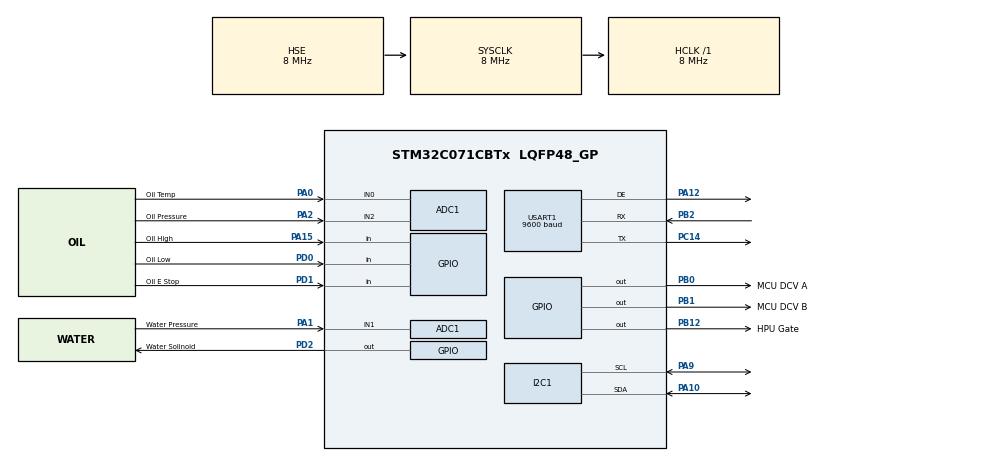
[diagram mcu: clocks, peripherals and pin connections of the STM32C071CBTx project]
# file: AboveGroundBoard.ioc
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ADC1.Channel-0\#ChannelRegularConversion=ADC_CHANNEL_0
ADC1.Channel-1\#ChannelRegularConversion=ADC_CHANNEL_1
ADC1.Channel-2\#ChannelRegularConversion=ADC_CHANNEL_2
ADC1.ContinuousConvMode=ENABLE
ADC1.NbrOfConversion=3
ADC1.NbrOfConversionFlag=1
ADC1.Rank-0\#ChannelRegularConversion=1
ADC1.Rank-1\#ChannelRegularConversion=2
ADC1.Rank-2\#ChannelRegularConversion=3
ADC1.SamplingTime-0\#ChannelRegularConversion=ADC_SAMPLINGTIME_COMMON_1
ADC1.SamplingTime-1\#ChannelRegularConversion=ADC_SAMPLINGTIME_COMMON_1
ADC1.SamplingTime-2\#ChannelRegularConversion=ADC_SAMPLINGTIME_COMMON_1
ADC1.SamplingTimeCommon1=ADC_SAMPLETIME_160CYCLES_5
ADC1.SelectedChannel=ADC_CHANNEL_0|ADC_CHANNEL_1|ADC_CHANNEL_2
ADC1.Sequencer=FULLY_CONFIGURABLE
ADC1.TriggerFrequencyMode=ADC_TRIGGER_FREQ_LOW
ADC1.master=1
Dma.ADC1.0.Direction=DMA_PERIPH_TO_MEMORY
Dma.ADC1.0.EventEnable=DISABLE
Dma.ADC1.0.Instance=DMA1_Channel1
Dma.ADC1.0.MemDataAlignment=DMA_MDATAALIGN_HALFWORD
Dma.ADC1.0.MemInc=DMA_MINC_ENABLE
Dma.ADC1.0.Mode=DMA_CIRCULAR
Dma.ADC1.0.PeriphDataAlignment=DMA_PDATAALIGN_HALFWORD
Dma.ADC1.0.PeriphInc=DMA_PINC_DISABLE
Dma.ADC1.0.Polarity=HAL_DMAMUX_REQ_GEN_RISING
Dma.ADC1.0.Priority=DMA_PRIORITY_LOW
Dma.ADC1.0.RequestNumber=1
Dma.ADC1.0.SignalID=NONE
Dma.ADC1.0.SyncEnable=DISABLE
Dma.ADC1.0.SyncPolarity=HAL_DMAMUX_SYNC_NO_EVENT
Dma.ADC1.0.SyncRequestNumber=1
Dma.ADC1.0.SyncSignalID=NONE
Dma.I2C1_RX.3.Direction=DMA_PERIPH_TO_MEMORY
Dma.I2C1_RX.3.EventEnable=DISABLE
Dma.I2C1_RX.3.Instance=DMA1_Channel4
Dma.I2C1_RX.3.MemDataAlignment=DMA_MDATAALIGN_BYTE
Dma.I2C1_RX.3.MemInc=DMA_MINC_ENABLE
Dma.I2C1_RX.3.Mode=DMA_NORMAL
Dma.I2C1_RX.3.PeriphDataAlignment=DMA_PDATAALIGN_BYTE
Dma.I2C1_RX.3.PeriphInc=DMA_PINC_DISABLE
Dma.I2C1_RX.3.Polarity=HAL_DMAMUX_REQ_GEN_RISING
Dma.I2C1_RX.3.Priority=DMA_PRIORITY_MEDIUM
Dma.I2C1_RX.3.RequestNumber=1
Dma.I2C1_RX.3.SignalID=NONE
Dma.I2C1_RX.3.SyncEnable=DISABLE
Dma.I2C1_RX.3.SyncPolarity=HAL_DMAMUX_SYNC_NO_EVENT
Dma.I2C1_RX.3.SyncRequestNumber=1
Dma.I2C1_RX.3.SyncSignalID=NONE
Dma.I2C1_TX.4.Direction=DMA_MEMORY_TO_PERIPH
Dma.I2C1_TX.4.EventEnable=DISABLE
Dma.I2C1_TX.4.Instance=DMA1_Channel5
Dma.I2C1_TX.4.MemDataAlignment=DMA_MDATAALIGN_BYTE
Dma.I2C1_TX.4.MemInc=DMA_MINC_ENABLE
Dma.I2C1_TX.4.Mode=DMA_NORMAL
Dma.I2C1_TX.4.PeriphDataAlignment=DMA_PDATAALIGN_BYTE
Dma.I2C1_TX.4.PeriphInc=DMA_PINC_DISABLE
Dma.I2C1_TX.4.Polarity=HAL_DMAMUX_REQ_GEN_RISING
Dma.I2C1_TX.4.Priority=DMA_PRIORITY_MEDIUM
Dma.I2C1_TX.4.RequestNumber=1
Dma.I2C1_TX.4.SignalID=NONE
Dma.I2C1_TX.4.SyncEnable=DISABLE
Dma.I2C1_TX.4.SyncPolarity=HAL_DMAMUX_SYNC_NO_EVENT
Dma.I2C1_TX.4.SyncRequestNumber=1
Dma.I2C1_TX.4.SyncSignalID=NONE
Dma.Request0=ADC1
Dma.Request1=USART1_RX
Dma.Request2=USART1_TX
Dma.Request3=I2C1_RX
Dma.Request4=I2C1_TX
Dma.USART1_RX.1.Direction=DMA_PERIPH_TO_MEMORY
Dma.USART1_RX.1.EventEnable=DISABLE
Dma.USART1_RX.1.Instance=DMA1_Channel2
Dma.USART1_RX.1.MemDataAlignment=DMA_MDATAALIGN_BYTE
Dma.USART1_RX.1.MemInc=DMA_MINC_ENABLE
Dma.USART1_RX.1.Mode=DMA_NORMAL
Dma.USART1_RX.1.PeriphDataAlignment=DMA_PDATAALIGN_BYTE
Dma.USART1_RX.1.PeriphInc=DMA_PINC_DISABLE
Dma.USART1_RX.1.Polarity=HAL_DMAMUX_REQ_GEN_RISING
Dma.USART1_RX.1.Priority=DMA_PRIORITY_VERY_HIGH
Dma.USART1_RX.1.RequestNumber=1
Dma.USART1_RX.1.SignalID=NONE
Dma.USART1_RX.1.SyncEnable=DISABLE
Dma.USART1_RX.1.SyncPolarity=HAL_DMAMUX_SYNC_NO_EVENT
Dma.USART1_RX.1.SyncRequestNumber=1
Dma.USART1_RX.1.SyncSignalID=NONE
Dma.USART1_TX.2.Direction=DMA_MEMORY_TO_PERIPH
Dma.USART1_TX.2.EventEnable=DISABLE
Dma.USART1_TX.2.Instance=DMA1_Channel3
Dma.USART1_TX.2.MemDataAlignment=DMA_MDATAALIGN_BYTE
Dma.USART1_TX.2.MemInc=DMA_MINC_ENABLE
Dma.USART1_TX.2.Mode=DMA_NORMAL
Dma.USART1_TX.2.PeriphDataAlignment=DMA_PDATAALIGN_BYTE
Dma.USART1_TX.2.PeriphInc=DMA_PINC_DISABLE
Dma.USART1_TX.2.Polarity=HAL_DMAMUX_REQ_GEN_RISING
Dma.USART1_TX.2.Priority=DMA_PRIORITY_HIGH
Dma.USART1_TX.2.RequestNumber=1
Dma.USART1_TX.2.SignalID=NONE
Dma.USART1_TX.2.SyncEnable=DISABLE
Dma.USART1_TX.2.SyncPolarity=HAL_DMAMUX_SYNC_NO_EVENT
Dma.USART1_TX.2.SyncRequestNumber=1
Dma.USART1_TX.2.SyncSignalID=NONE
I2C1.Timing=0x00201D2B
Mcu.Family=STM32C0
Mcu.Name=STM32C071CBTx
Mcu.Package=LQFP48_GP
NVIC.DMA1_Channel1_IRQn=true\:0\:0\:false\:false\:true\:false\:true\:true
NVIC.DMA1_Channel2_3_IRQn=true\:0\:0\:false\:false\:true\:false\:true\:true
NVIC.DMAMUX1_DMA1_CH4_5_IRQn=true\:0\:0\:false\:false\:true\:false\:true\:true
NVIC.USART1_IRQn=true\:0\:0\:false\:false\:true\:true\:true\:true
PA0.GPIO_Label=Oil Temp
PA0.Mode=IN0
PA0.Signal=ADC1_IN0
PA1.GPIO_Label=Water Pressure
PA1.Mode=IN1
PA1.Signal=ADC1_IN1
PA10\ [PA12].Mode=I2C
PA10\ [PA12].Signal=I2C1_SDA
PA12\ [PA10].Mode=Hardware Flow Control (RS485)
PA12\ [PA10].Signal=USART1_DE
PA13.Mode=Serial_Wire
PA13.Signal=DEBUG_SWDIO
PA14-BOOT0.Mode=Serial_Wire
PA14-BOOT0.Signal=DEBUG_SWCLK
PA15.GPIO_Label=Oil High
PA15.GPIO_PuPd=GPIO_PULLUP
PA15.Signal=GPIO_Input
PA2.GPIO_Label=Oil Pressure
PA2.Mode=IN2
PA2.Signal=ADC1_IN2
PA9\ [PA11].Mode=I2C
PA9\ [PA11].Signal=I2C1_SCL
PB0.GPIO_Label=MCU DCV A
PB0.Signal=GPIO_Output
PB1.GPIO_Label=MCU DCV B
PB1.Signal=GPIO_Output
PB12.GPIO_Label=HPU Gate
PB12.Signal=GPIO_Output
PB2.Mode=Asynchronous
PB2.Signal=USART1_RX
PC14-OSCX_IN(PC14).Mode=Asynchronous
PC14-OSCX_IN(PC14).Signal=USART1_TX
PD0.GPIO_Label=Oil Low
PD0.GPIO_PuPd=GPIO_PULLUP
PD0.Signal=GPIO_Input
PD1.GPIO_Label=Oil E Stop
PD1.GPIO_PuPd=GPIO_PULLUP
PD1.Signal=GPIO_Input
PD2.GPIO_Label=Water Solinoid
PD2.Signal=GPIO_Output
PF0-OSC_IN(PF0).Mode=HSE-External-Oscillator
PF0-OSC_IN(PF0).Signal=RCC_OSC_IN
PF1-OSC_OUT(PF1).Mode=HSE-External-Oscillator
PF1-OSC_OUT(PF1).Signal=RCC_OSC_OUT
ProjectManager.HeapSize=0x200
ProjectManager.StackSize=0x400
ProjectManager.TargetToolchain=STM32CubeIDE
RCC.ADCFreq_Value=8000000
RCC.AHBFreq_Value=8000000
RCC.CortexFreq_Value=8000000
RCC.EXTERNAL_CLOCK_VALUE=12288000
RCC.HCLKFreq_Value=8000000
RCC.HSE_VALUE=8000000
RCC.HSI48_VALUE=48000000
RCC.HSI_VALUE=48000000
RCC.LSE_VALUE=32768
RCC.SYSCLKFreq_VALUE=8000000
RCC.SYSCLKSource=RCC_SYSCLKSOURCE_HSE
USART1.BaudRate=9600
USART1.VirtualMode-Asynchronous=VM_ASYNC
USART1.VirtualMode-Hardware\ Flow\ Control\ (RS485)=VM_ASYNC
board=custom

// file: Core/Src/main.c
/* USER CODE BEGIN Header */
/**
  ******************************************************************************
  * @file           : main.c
  * @brief          : Main program body
  ******************************************************************************
  * @attention
  *
  * Copyright (c) 2024 STMicroelectronics.
  * All rights reserved.
  *
  * This software is licensed under terms that can be found in the LICENSE file
  * in the root directory of this software component.
  * If no LICENSE file comes with this software, it is provided AS-IS.
  *
  ******************************************************************************
  */
/* USER CODE END Header */
#include "main.h"

/* USER CODE BEGIN Includes */
#include "modbus.h"
#include "vl53l0x.h"
#include "error_codes.h"
/* USER CODE END Includes */

ADC_HandleTypeDef hadc1;
DMA_HandleTypeDef hdma_adc1;

I2C_HandleTypeDef hi2c1;
DMA_HandleTypeDef hdma_i2c1_rx;
DMA_HandleTypeDef hdma_i2c1_tx;

UART_HandleTypeDef huart1;
DMA_HandleTypeDef hdma_usart1_rx;
DMA_HandleTypeDef hdma_usart1_tx;

/* USER CODE BEGIN PV */
uint16_t holding_register_database[NUM_HOLDING_REGISTERS] = {
		0x0006,	// MODBUS_ID
		0x0003, // BAUD_RATE
		  1000, // MB_TRANSMIT_TIMEOUT
		     2, // MB_TRANSMIT_RETRIES
		0x0000, // MB_ERRORS
		0x0000,	// VL53L0X_ERRORS
		0x0000, // I2C_ERRORS
		0x0000, // I2C_SHUTDOWN
		0x0000, // ADC_ERRORS
		0x0000, // ADC_SHUTDOWN

		0xFFFF, // ADC_0
		0xFFFF, // ADC_1
		0xFFFF, // ADC_2

		0xFFFF, // LASER_DISTANCE
		0x0000, // GPIO_READ
		0x0000, // GPIO_WRITE
};

uint16_t prev_gpio_write_register;
volatile uint8_t adc_err_int;
/* USER CODE END PV */

void SystemClock_Config(void);
static void MX_GPIO_Init(void);
static void MX_DMA_Init(void);
static void MX_USART1_UART_Init(void);
static void MX_ADC1_Init(void);
static void MX_I2C1_Init(void);
/* USER CODE BEGIN PFP */
int8_t adc_reset();
/* USER CODE END PFP */

/* USER CODE BEGIN 0 */

int8_t adc_reset()
{
	int8_t status = HAL_OK;
	status = HAL_ADC_Stop_DMA(&hadc1);
	status |= HAL_ADC_DeInit(&hadc1);
	__HAL_RCC_ADC_FORCE_RESET();
	HAL_Delay(10);
	__HAL_RCC_ADC_RELEASE_RESET();
	HAL_Delay(10);
	status |= HAL_ADC_Init(&hadc1);

	ADC_ChannelConfTypeDef sConfig = {0};

	sConfig.Channel = ADC_CHANNEL_0;
	sConfig.Rank = ADC_REGULAR_RANK_1;
	sConfig.SamplingTime = ADC_SAMPLINGTIME_COMMON_1;
	status |= HAL_ADC_ConfigChannel(&hadc1, &sConfig);

	sConfig.Channel = ADC_CHANNEL_1;
	sConfig.Rank = ADC_REGULAR_RANK_2;
	status |= HAL_ADC_ConfigChannel(&hadc1, &sConfig);

	sConfig.Channel = ADC_CHANNEL_2;
	sConfig.Rank = ADC_REGULAR_RANK_3;
	status |= HAL_ADC_ConfigChannel(&hadc1, &sConfig);
	return status;
}

void HAL_ADC_ErrorCallback(ADC_HandleTypeDef *hadc)
{
	adc_err_int = 1U;
}

/* USER CODE END 0 */

int main(void)
{

  /* USER CODE BEGIN 1 */
	int8_t modbus_status = HAL_OK;
	int8_t i2c_status = HAL_OK;
	int8_t adc_status = HAL_OK;
	uint8_t modbus_tx_len = 0;
	uint8_t prev_adc_shutdown = 0;
  /* USER CODE END 1 */

  /* MCU Configuration--------------------------------------------------------*/

  /* Reset of all peripherals, Initializes the Flash interface and the Systick. */
  HAL_Init();

  /* Configure the system clock */
  SystemClock_Config();

  /* Initialize all configured peripherals */
  MX_GPIO_Init();
  MX_DMA_Init();
  MX_USART1_UART_Init();
  MX_ADC1_Init();
  MX_I2C1_Init();
  /* USER CODE BEGIN 2 */

    if(modbus_set_rx() != HAL_OK)
    {
    	Error_Handler();
    }

	if(HAL_ADC_Start_DMA(&hadc1, (uint32_t*)(&holding_register_database[ADC_0]), 3) != HAL_OK)
	{
		Error_Handler();
	}

	adc_err_int = 0U;

	// Initialise the VL53L0X
	statInfo_t_VL53L0X* distanceStr = 0;
	i2c_status = vl53l0x_init(1);
	if(i2c_status != HAL_OK)
	{
		holding_register_database[VL53L0X_ERRORS] |= (1U << VL53L0X_INIT_ERROR);
	}

	// Configure the sensor for high accuracy and speed in 20 cm.
	i2c_status = vl53l0x_set_signal_rate_limit(200);
	if(i2c_status != HAL_OK)
	{
		holding_register_database[VL53L0X_ERRORS] |= (1U << VL53L0X_SIGNAL_RATE_LIMIT_ERROR);
	}
	i2c_status |= vl53l0x_set_measurement_timing_budget(300 * 1000UL);
	if(i2c_status != HAL_OK)
	{
		holding_register_database[VL53L0X_ERRORS] |= (1U << VL53L0X_TIMING_BUDGET_ERROR);
	}
	i2c_status |= vl53l0x_set_vcsel_pulse_period(VcselPeriodPreRange, 18);
	if(i2c_status != HAL_OK)
	{
		holding_register_database[VL53L0X_ERRORS] |= (1U << VL53L0X_VCSEL_PULSE_ERROR);
	}
	i2c_status |= vl53l0x_set_vcsel_pulse_period(VcselPeriodFinalRange, 14);
	if(i2c_status != HAL_OK)
	{
		holding_register_database[VL53L0X_ERRORS] |= (1U << VL53L0X_VCSEL_PULSE_ERROR);
	}

  /* USER CODE END 2 */

  /* Infinite loop */
  /* USER CODE BEGIN WHILE */
  while (1)
  {
	    // Update the GPIO_READ register
		GPIO_PinState oil_high = HAL_GPIO_ReadPin(Oil_High_GPIO_Port, Oil_High_Pin);
		GPIO_PinState oil_low = HAL_GPIO_ReadPin(Oil_Low_GPIO_Port, Oil_Low_Pin);
		GPIO_PinState oil_estop = HAL_GPIO_ReadPin(Oil_E_Stop_GPIO_Port, Oil_E_Stop_Pin);

		holding_register_database[GPIO_READ] = ((oil_high << OIL_HIGH) | (oil_low << OIL_LOW) | (oil_estop << OIL_ESTOP));

		if(prev_gpio_write_register != holding_register_database[GPIO_WRITE])
		{
			if((prev_gpio_write_register & MCU_DCV_A_MASK) != (holding_register_database[GPIO_WRITE] & MCU_DCV_A_MASK))
			{
				// If A wants to be high
				if((holding_register_database[GPIO_WRITE] & MCU_DCV_A_MASK) != 0)
				{
					// If B wants to be low
					if((holding_register_database[GPIO_WRITE] & MCU_DCV_B_MASK) == 0)
					{
						// If B is high but B wants to be low
						if((prev_gpio_write_register & MCU_DCV_B_MASK) != 0)
						{
							// Write B low first
							HAL_GPIO_WritePin(MCU_DCV_B_GPIO_Port, MCU_DCV_B_Pin,(holding_register_database[GPIO_WRITE] & MCU_DCV_B_MASK));
							HAL_Delay(100); // Wait a few seconds for safety
							HAL_GPIO_WritePin(MCU_DCV_A_GPIO_Port, MCU_DCV_A_Pin,(holding_register_database[GPIO_WRITE] & MCU_DCV_A_MASK));
							// Clear B for the prev_gpio_write_register
							prev_gpio_write_register &= ~ MCU_DCV_B_MASK;
						}
					}
					// If B wants to be high -> FORBIDDEN
					else
					{
						// If B is high
						if((prev_gpio_write_register & MCU_DCV_B_MASK) != 0)
						{
							// Cancel the user request, clear the A bit
							holding_register_database[GPIO_WRITE] &= ~ MCU_DCV_A_MASK;
						}
						// If A and B both want to be set high from a low state
						else
						{
							// Cancel the user request, clear the A and B bit
							holding_register_database[GPIO_WRITE] &= ~ (MCU_DCV_A_MASK | MCU_DCV_B_MASK);
						}
					}
				}
				// If A wants to be low
				else
				{
					HAL_GPIO_WritePin(MCU_DCV_A_GPIO_Port, MCU_DCV_A_Pin, (holding_register_database[GPIO_WRITE] & MCU_DCV_A_MASK));
				}
			}
			if((prev_gpio_write_register & MCU_DCV_B_MASK) != (holding_register_database[GPIO_WRITE] & MCU_DCV_B_MASK))
			{
				// If B wants to be high
				if((holding_register_database[GPIO_WRITE] & MCU_DCV_B_MASK) != 0)
				{
					// If A wants to be low
					if((holding_register_database[GPIO_WRITE] & MCU_DCV_A_MASK) == 0)
					{
						// If A is high but A wants to be low
						if((prev_gpio_write_register & MCU_DCV_A_MASK) != 0)
						{
							// Write A low first
							HAL_GPIO_WritePin(MCU_DCV_A_GPIO_Port, MCU_DCV_A_Pin,(holding_register_database[GPIO_WRITE] & MCU_DCV_A_MASK));
							HAL_Delay(100); // Wait a few seconds for safety
							HAL_GPIO_WritePin(MCU_DCV_B_GPIO_Port, MCU_DCV_B_Pin,(holding_register_database[GPIO_WRITE] & MCU_DCV_B_MASK));
							// Clear A for the prev_gpio_write_register
							prev_gpio_write_register &= ~ MCU_DCV_A_MASK;
						}
					}
					// If A wants to be high -> FORBIDDEN
					else
					{
						// If A is high
						if((prev_gpio_write_register & MCU_DCV_A_MASK) != 0)
						{
							// Cancel the user request, clear the B bit
							holding_register_database[GPIO_WRITE] &= ~ MCU_DCV_B_MASK;
						}
						// If A and B both want to be set high from a low state
						else
						{
							// Cancel the user request, clear the A and B bit
							holding_register_database[GPIO_WRITE] &= ~ (MCU_DCV_A_MASK | MCU_DCV_B_MASK);
						}
					}
				}
				// If B wants to be low
				else
				{
					HAL_GPIO_WritePin(MCU_DCV_B_GPIO_Port, MCU_DCV_B_Pin, (holding_register_database[GPIO_WRITE] & MCU_DCV_B_MASK));
				}
			}
			if((prev_gpio_write_register & HPU_GATE_MASK) != (holding_register_database[GPIO_WRITE] & HPU_GATE_MASK))
			{
				HAL_GPIO_WritePin(HPU_Gate_GPIO_Port, HPU_Gate_Pin, (holding_register_database[GPIO_WRITE] & HPU_GATE_MASK));
			}
			if((prev_gpio_write_register & WATER_SOLINOID_MASK) != (holding_register_database[GPIO_WRITE] & WATER_SOLINOID_MASK))
			{
				HAL_GPIO_WritePin(Water_Solinoid_GPIO_Port, Water_Solinoid_Pin, (holding_register_database[GPIO_WRITE] & WATER_SOLINOID_MASK));
			}
			prev_gpio_write_register = holding_register_database[GPIO_WRITE];
		}

		// Handle Modbus Communication
		if(modbus_rx())
		{
			if(get_rx_buffer(0) == holding_register_database[MODBUS_ID]) // Check Slave ID
			{
				switch(get_rx_buffer(1))
				{
					case 0x03:
					{
						// Return holding registers
						modbus_status = return_holding_registers(&modbus_tx_len);
						break;
					}
					case 0x10:
					{
						// Write holding registers
						modbus_status = edit_multiple_registers(&modbus_tx_len);
						break;
					}
					default:
					{
						modbus_status = modbus_exception(MB_ILLEGAL_FUNCTION);
						break;
					}
				}
				if(modbus_status != 0)
				{
					holding_register_database[MB_ERRORS] |= 1U << ((modbus_status) + (MB_FATAL_ERROR - RANGE_ERROR));
				}
			}
			// Special case where you retrieve the modbus ID
			else if((get_rx_buffer(0) == 0xFF) && // modbus_id = 0xFF = 255
			(get_rx_buffer(1) == 0x03) && // Function code = read_holding_registers
			(((get_rx_buffer(2) << 8) | get_rx_buffer(3)) == 0x00) && // Address to read = 0
			(((get_rx_buffer(4) << 8) | get_rx_buffer(5)) == 1)) // # of registers to read = 1
			{
				modbus_status = return_holding_registers(&modbus_tx_len);
				if(modbus_status != 0)
				{
					holding_register_database[MB_ERRORS] |= 1U << ((modbus_status) + (MB_FATAL_ERROR - RANGE_ERROR));
				}
			}
		}
		modbus_status = monitor_modbus();
		if(modbus_status != HAL_OK && modbus_status != HAL_BUSY)
		{
			switch(modbus_status)
			{
				case MB_TX_TIMEOUT:
				{
					for(uint8_t i = 0; i < holding_register_database[MB_TRANSMIT_RETRIES]; i++)
					{
						modbus_status = modbus_send(modbus_tx_len);
						while(monitor_modbus() == HAL_BUSY);
						if(modbus_status != HAL_OK)
						{
							holding_register_database[MB_ERRORS] |= 1U << ((modbus_status) + (MB_FATAL_ERROR - RANGE_ERROR));
						}
					}
				  break;
				}
				case MB_RX_TIMEOUT:
				{
					// Error only relates to Modbus Master Nodes
					break;
				}
				case MB_UART_ERROR:
				{
					if(modbus_status != 0)
					{
						holding_register_database[MB_ERRORS] |= 1U << ((modbus_status) + (MB_FATAL_ERROR - RANGE_ERROR));
					}
					break;
				}
				case MB_FATAL_ERROR:
				{
					while(modbus_status != HAL_OK)
					{
						modbus_status = modbus_reset();
					}
					if(modbus_status != 0)
					{
						holding_register_database[MB_ERRORS] |= 1U << ((modbus_status) + (MB_FATAL_ERROR - RANGE_ERROR));
					}
					break;
				}
				default:
				{
					// Unknown error
				}
			}
		}

		// Handle I2C Communication
		if(!holding_register_database[I2C_SHUTDOWN])
		{
			// statInfo_t_VL53L0X distanceStr is the statistics read from the sensor.
			i2c_status = vl53l0x_read_range_single(distanceStr, &holding_register_database[LASER_DISTANCE]);
			if(i2c_status != HAL_OK)
			{
				holding_register_database[VL53L0X_ERRORS] |= (1U << VL53L0X_AQUISITION_ERROR);
			}
		}

		// Handle ADC Errors
		if(adc_err_int != 0U)
		{
			adc_err_int = 0U;
			holding_register_database[ADC_ERRORS] |= hadc1.ErrorCode;
			adc_status = adc_reset();
			if(adc_status != HAL_OK)
			{
				// Fatal Error
				holding_register_database[ADC_ERRORS] |= (1U << 5U);
				holding_register_database[ADC_SHUTDOWN] = 1;
				prev_adc_shutdown = 1;
			}
			else
			{
				HAL_ADC_Start_DMA(&hadc1, (uint32_t*)(&holding_register_database[ADC_0]), 3);
			}
		}
		if(prev_adc_shutdown != holding_register_database[ADC_SHUTDOWN])
		{
			if(prev_adc_shutdown == 1)
			{
				adc_status = adc_reset();
				if(adc_status != HAL_OK)
				{
					// Fatal Error
					holding_register_database[ADC_ERRORS] |= (1U << 5U);
					holding_register_database[ADC_SHUTDOWN] = 1;
				}
				else
				{
					HAL_ADC_Start_DMA(&hadc1, (uint32_t*)(&holding_register_database[ADC_0]), 3);
				}
			}
			else
			{
				adc_status = adc_reset();
				if(adc_status != HAL_OK)
				{
					// Fatal Error
					holding_register_database[ADC_ERRORS] |= (1U << 5U);
				}
			}
			prev_adc_shutdown = holding_register_database[ADC_SHUTDOWN];
		}

    /* USER CODE END WHILE */

  }
}

void SystemClock_Config(void)
{
  RCC_OscInitTypeDef RCC_OscInitStruct = {0};
  RCC_ClkInitTypeDef RCC_ClkInitStruct = {0};

  /** Initializes the RCC Oscillators according to the specified parameters
  * in the RCC_OscInitTypeDef structure.
  */
  RCC_OscInitStruct.OscillatorType = RCC_OSCILLATORTYPE_HSE;
  RCC_OscInitStruct.HSEState = RCC_HSE_ON;
  if (HAL_RCC_OscConfig(&RCC_OscInitStruct) != HAL_OK)
  {
    Error_Handler();
  }

  /** Initializes the CPU, AHB and APB buses clocks
  */
  RCC_ClkInitStruct.ClockType = RCC_CLOCKTYPE_HCLK|RCC_CLOCKTYPE_SYSCLK
                              |RCC_CLOCKTYPE_PCLK1;
  RCC_ClkInitStruct.SYSCLKSource = RCC_SYSCLKSOURCE_HSE;
  RCC_ClkInitStruct.SYSCLKDivider = RCC_SYSCLK_DIV1;
  RCC_ClkInitStruct.AHBCLKDivider = RCC_HCLK_DIV1;
  RCC_ClkInitStruct.APB1CLKDivider = RCC_APB1_DIV1;

  if (HAL_RCC_ClockConfig(&RCC_ClkInitStruct, FLASH_LATENCY_0) != HAL_OK)
  {
    Error_Handler();
  }
}

static void MX_ADC1_Init(void)
{

  ADC_ChannelConfTypeDef sConfig = {0};

  /** Configure the global features of the ADC (Clock, Resolution, Data Alignment and number of conversion)
  */
  hadc1.Instance = ADC1;
  hadc1.Init.ClockPrescaler = ADC_CLOCK_SYNC_PCLK_DIV1;
  hadc1.Init.Resolution = ADC_RESOLUTION_12B;
  hadc1.Init.DataAlign = ADC_DATAALIGN_RIGHT;
  hadc1.Init.ScanConvMode = ADC_SCAN_ENABLE;
  hadc1.Init.EOCSelection = ADC_EOC_SINGLE_CONV;
  hadc1.Init.LowPowerAutoWait = DISABLE;
  hadc1.Init.LowPowerAutoPowerOff = DISABLE;
  hadc1.Init.ContinuousConvMode = ENABLE;
  hadc1.Init.NbrOfConversion = 3;
  hadc1.Init.ExternalTrigConv = ADC_SOFTWARE_START;
  hadc1.Init.ExternalTrigConvEdge = ADC_EXTERNALTRIGCONVEDGE_NONE;
  hadc1.Init.DMAContinuousRequests = DISABLE;
  hadc1.Init.Overrun = ADC_OVR_DATA_PRESERVED;
  hadc1.Init.SamplingTimeCommon1 = ADC_SAMPLETIME_160CYCLES_5;
  hadc1.Init.SamplingTimeCommon2 = ADC_SAMPLETIME_1CYCLE_5;
  hadc1.Init.OversamplingMode = DISABLE;
  hadc1.Init.TriggerFrequencyMode = ADC_TRIGGER_FREQ_LOW;
  if (HAL_ADC_Init(&hadc1) != HAL_OK)
  {
    Error_Handler();
  }

  /** Configure Regular Channel
  */
  sConfig.Channel = ADC_CHANNEL_0;
  sConfig.Rank = ADC_REGULAR_RANK_1;
  sConfig.SamplingTime = ADC_SAMPLINGTIME_COMMON_1;
  if (HAL_ADC_ConfigChannel(&hadc1, &sConfig) != HAL_OK)
  {
    Error_Handler();
  }

  /** Configure Regular Channel
  */
  sConfig.Channel = ADC_CHANNEL_1;
  sConfig.Rank = ADC_REGULAR_RANK_2;
  if (HAL_ADC_ConfigChannel(&hadc1, &sConfig) != HAL_OK)
  {
    Error_Handler();
  }

  /** Configure Regular Channel
  */
  sConfig.Channel = ADC_CHANNEL_2;
  sConfig.Rank = ADC_REGULAR_RANK_3;
  if (HAL_ADC_ConfigChannel(&hadc1, &sConfig) != HAL_OK)
  {
    Error_Handler();
  }

}

static void MX_I2C1_Init(void)
{

  hi2c1.Instance = I2C1;
  hi2c1.Init.Timing = 0x00201D2B;
  hi2c1.Init.OwnAddress1 = 0;
  hi2c1.Init.AddressingMode = I2C_ADDRESSINGMODE_7BIT;
  hi2c1.Init.DualAddressMode = I2C_DUALADDRESS_DISABLE;
  hi2c1.Init.OwnAddress2 = 0;
  hi2c1.Init.OwnAddress2Masks = I2C_OA2_NOMASK;
  hi2c1.Init.GeneralCallMode = I2C_GENERALCALL_DISABLE;
  hi2c1.Init.NoStretchMode = I2C_NOSTRETCH_DISABLE;
  if (HAL_I2C_Init(&hi2c1) != HAL_OK)
  {
    Error_Handler();
  }

  /** Configure Analogue filter
  */
  if (HAL_I2CEx_ConfigAnalogFilter(&hi2c1, I2C_ANALOGFILTER_ENABLE) != HAL_OK)
  {
    Error_Handler();
  }

  /** Configure Digital filter
  */
  if (HAL_I2CEx_ConfigDigitalFilter(&hi2c1, 0) != HAL_OK)
  {
    Error_Handler();
  }

}

static void MX_USART1_UART_Init(void)
{

  huart1.Instance = USART1;
  huart1.Init.BaudRate = 9600;
  huart1.Init.WordLength = UART_WORDLENGTH_8B;
  huart1.Init.StopBits = UART_STOPBITS_1;
  huart1.Init.Parity = UART_PARITY_NONE;
  huart1.Init.Mode = UART_MODE_TX_RX;
  huart1.Init.HwFlowCtl = UART_HWCONTROL_NONE;
  huart1.Init.OverSampling = UART_OVERSAMPLING_16;
  huart1.Init.OneBitSampling = UART_ONE_BIT_SAMPLE_DISABLE;
  huart1.Init.ClockPrescaler = UART_PRESCALER_DIV1;
  huart1.AdvancedInit.AdvFeatureInit = UART_ADVFEATURE_NO_INIT;
  if (HAL_RS485Ex_Init(&huart1, UART_DE_POLARITY_HIGH, 0, 0) != HAL_OK)
  {
    Error_Handler();
  }
  if (HAL_UARTEx_SetTxFifoThreshold(&huart1, UART_TXFIFO_THRESHOLD_1_8) != HAL_OK)
  {
    Error_Handler();
  }
  if (HAL_UARTEx_SetRxFifoThreshold(&huart1, UART_RXFIFO_THRESHOLD_1_8) != HAL_OK)
  {
    Error_Handler();
  }
  if (HAL_UARTEx_DisableFifoMode(&huart1) != HAL_OK)
  {
    Error_Handler();
  }

}

static void MX_DMA_Init(void)
{

  /* DMA controller clock enable */
  __HAL_RCC_DMA1_CLK_ENABLE();

  /* DMA interrupt init */
  /* DMA1_Channel1_IRQn interrupt configuration */
  HAL_NVIC_SetPriority(DMA1_Channel1_IRQn, 0, 0);
  HAL_NVIC_EnableIRQ(DMA1_Channel1_IRQn);
  /* DMA1_Channel2_3_IRQn interrupt configuration */
  HAL_NVIC_SetPriority(DMA1_Channel2_3_IRQn, 0, 0);
  HAL_NVIC_EnableIRQ(DMA1_Channel2_3_IRQn);
  /* DMAMUX1_DMA1_CH4_5_IRQn interrupt configuration */
  HAL_NVIC_SetPriority(DMAMUX1_DMA1_CH4_5_IRQn, 0, 0);
  HAL_NVIC_EnableIRQ(DMAMUX1_DMA1_CH4_5_IRQn);

}

static void MX_GPIO_Init(void)
{
  GPIO_InitTypeDef GPIO_InitStruct = {0};

  /* GPIO Ports Clock Enable */
  __HAL_RCC_GPIOC_CLK_ENABLE();
  __HAL_RCC_GPIOF_CLK_ENABLE();
  __HAL_RCC_GPIOA_CLK_ENABLE();
  __HAL_RCC_GPIOB_CLK_ENABLE();
  __HAL_RCC_GPIOD_CLK_ENABLE();

  /*Configure GPIO pin Output Level */
  HAL_GPIO_WritePin(GPIOB, MCU_DCV_A_Pin|MCU_DCV_B_Pin|HPU_Gate_Pin, GPIO_PIN_RESET);

  /*Configure GPIO pin Output Level */
  HAL_GPIO_WritePin(Water_Solinoid_GPIO_Port, Water_Solinoid_Pin, GPIO_PIN_RESET);

  /*Configure GPIO pins : MCU_DCV_A_Pin MCU_DCV_B_Pin HPU_Gate_Pin */
  GPIO_InitStruct.Pin = MCU_DCV_A_Pin|MCU_DCV_B_Pin|HPU_Gate_Pin;
  GPIO_InitStruct.Mode = GPIO_MODE_OUTPUT_PP;
  GPIO_InitStruct.Pull = GPIO_NOPULL;
  GPIO_InitStruct.Speed = GPIO_SPEED_FREQ_LOW;
  HAL_GPIO_Init(GPIOB, &GPIO_InitStruct);

  /*Configure GPIO pin : Oil_High_Pin */
  GPIO_InitStruct.Pin = Oil_High_Pin;
  GPIO_InitStruct.Mode = GPIO_MODE_INPUT;
  GPIO_InitStruct.Pull = GPIO_PULLUP;
  HAL_GPIO_Init(Oil_High_GPIO_Port, &GPIO_InitStruct);

  /*Configure GPIO pins : Oil_Low_Pin Oil_E_Stop_Pin */
  GPIO_InitStruct.Pin = Oil_Low_Pin|Oil_E_Stop_Pin;
  GPIO_InitStruct.Mode = GPIO_MODE_INPUT;
  GPIO_InitStruct.Pull = GPIO_PULLUP;
  HAL_GPIO_Init(GPIOD, &GPIO_InitStruct);

  /*Configure GPIO pin : Water_Solinoid_Pin */
  GPIO_InitStruct.Pin = Water_Solinoid_Pin;
  GPIO_InitStruct.Mode = GPIO_MODE_OUTPUT_PP;
  GPIO_InitStruct.Pull = GPIO_NOPULL;
  GPIO_InitStruct.Speed = GPIO_SPEED_FREQ_LOW;
  HAL_GPIO_Init(Water_Solinoid_GPIO_Port, &GPIO_InitStruct);

}

void Error_Handler(void)
{
  __disable_irq();
  while (1)
  {
  }
}
